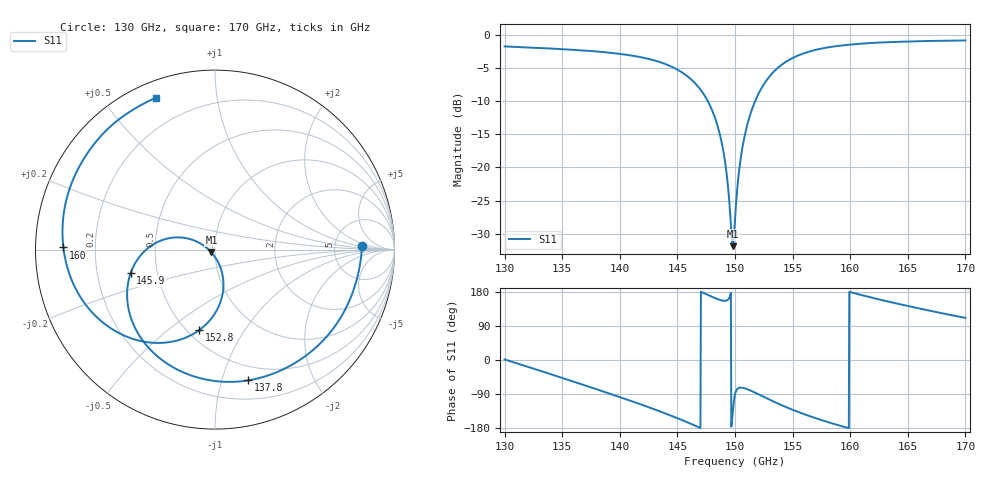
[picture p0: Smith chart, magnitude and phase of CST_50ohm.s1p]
! TOUCHSTONE file generated by CST MICROWAVE STUDIO
! Date and time: Thu Nov 19 02:54:04 2026
! Project name: TELE9782_DBand_1x2_Array_Final.cst
! Parameters = {array_spacing=1.2; eps_r=3.5; feed_width=0.09; ground_length=1.5; ground_width=2.5; inset_gap=0.02; inset_length=0.165; junction_y=-0.53; launch_length=0.5; loss_tangent=0.0027; mesh_box=54; mesh_near=36; metal_thickness=0.002; patch_length=0.513; patch_width=0.667; port_halfwidth=0.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
! Header version: 2024
! Port assignment regex: !\s*Touchstone port\s*([0-9]+)\s*=\s*(CST MWS port|CST DES external port|CST DES block port)\s*(.+)\s* \(\"(.*)\"\)(\s*mode\s*([0-9]+))?.*
! Touchstone port assignment:
! Touchstone port 1 = CST MWS port 1 ("50ohm_microstrip")
# GHz S RI R 50
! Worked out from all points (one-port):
!   1001 points, 130 GHz to 170 GHz, reference 50 ohm
!   lowest |S11| = -31.9 dB at 149.8 GHz (marker M1), VSWR 1.05, Z = 48 - j1.54 ohm
!   |S11| at or under -10 dB: 147.6 GHz to 151.7 GHz (4.107 GHz wide, 2.74 % of centre)
!   S11 on the Smith chart (normalised r, x): 130 GHz: 9.88, +1.26; 137.8 GHz: 0.36, -1.22; 145.9 GHz: 0.35, -0.12; 152.8 GHz: 0.57, -0.65; 160 GHz: 0.08, +0.01; 170 GHz: 0.07, +0.68
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130  0.8186 0.021
132.48  0.7399 -0.3044
135  0.5293 -0.5734
137.84  0.1855 -0.7285
140  -0.0988 -0.7121
142.84  -0.402 -0.508
145  -0.4897 -0.2433
145.88  -0.4692 -0.129
147.4  -0.3427 0.0299
148.48  -0.1953 0.0679
149.12  -0.1034 0.0457
149.36  -0.0714 0.0282
149.68  -0.0328 -0.00249
149.8  -0.0198 -0.016
149.88  -0.0117 -0.0256
150  -0.000335 -0.0407
150.4  0.0294 -0.0972
150.92  0.0467 -0.1803
151.72  0.0228 -0.3115
152.76  -0.0879 -0.4485
153.84  -0.2562 -0.5158
155  -0.4422 -0.5022
157.44  -0.7287 -0.2958
160  -0.8447 0.0118
162.32  -0.8273 0.2809
165  -0.7076 0.5416
167.48  -0.5356 0.7253
170  -0.3261 0.8474
